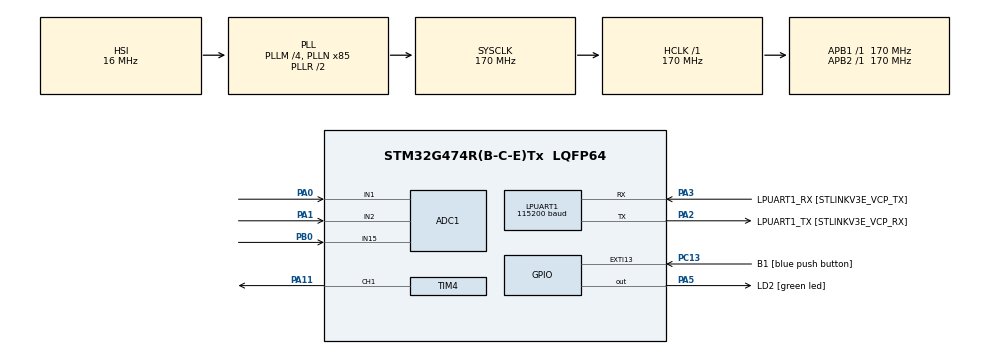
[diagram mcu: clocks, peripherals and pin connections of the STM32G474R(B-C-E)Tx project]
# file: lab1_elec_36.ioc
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ADC1.Channel-0\#ChannelRegularConversion=ADC_CHANNEL_1
ADC1.Channel-1\#ChannelRegularConversion=ADC_CHANNEL_2
ADC1.Channel-2\#ChannelRegularConversion=ADC_CHANNEL_15
ADC1.ContinuousConvMode=DISABLE
ADC1.DMAContinuousRequests=ENABLE
ADC1.ExternalTrigConv=ADC_EXTERNALTRIG_T3_TRGO
ADC1.NbrOfConversion=3
ADC1.NbrOfConversionFlag=1
ADC1.OffsetNumber-0\#ChannelRegularConversion=ADC_OFFSET_NONE
ADC1.OffsetNumber-1\#ChannelRegularConversion=ADC_OFFSET_NONE
ADC1.OffsetNumber-2\#ChannelRegularConversion=ADC_OFFSET_NONE
ADC1.Rank-0\#ChannelRegularConversion=1
ADC1.Rank-1\#ChannelRegularConversion=2
ADC1.Rank-2\#ChannelRegularConversion=3
ADC1.SamplingTime-0\#ChannelRegularConversion=ADC_SAMPLETIME_640CYCLES_5
ADC1.SamplingTime-1\#ChannelRegularConversion=ADC_SAMPLETIME_640CYCLES_5
ADC1.SamplingTime-2\#ChannelRegularConversion=ADC_SAMPLETIME_640CYCLES_5
ADC1.master=1
Dma.ADC1.0.Direction=DMA_PERIPH_TO_MEMORY
Dma.ADC1.0.EventEnable=DISABLE
Dma.ADC1.0.Instance=DMA1_Channel1
Dma.ADC1.0.MemDataAlignment=DMA_MDATAALIGN_HALFWORD
Dma.ADC1.0.MemInc=DMA_MINC_ENABLE
Dma.ADC1.0.Mode=DMA_CIRCULAR
Dma.ADC1.0.PeriphDataAlignment=DMA_PDATAALIGN_HALFWORD
Dma.ADC1.0.PeriphInc=DMA_PINC_DISABLE
Dma.ADC1.0.Polarity=HAL_DMAMUX_REQ_GEN_RISING
Dma.ADC1.0.Priority=DMA_PRIORITY_LOW
Dma.ADC1.0.RequestNumber=1
Dma.ADC1.0.SignalID=NONE
Dma.ADC1.0.SyncEnable=DISABLE
Dma.ADC1.0.SyncPolarity=HAL_DMAMUX_SYNC_NO_EVENT
Dma.ADC1.0.SyncRequestNumber=1
Dma.ADC1.0.SyncSignalID=NONE
Dma.Request0=ADC1
LPUART1.BaudRate=115200
LPUART1.WordLength=UART_WORDLENGTH_8B
Mcu.Family=STM32G4
Mcu.Name=STM32G474R(B-C-E)Tx
Mcu.Package=LQFP64
NVIC.DMA1_Channel1_IRQn=true\:0\:0\:false\:false\:true\:false\:true\:true
NVIC.EXTI15_10_IRQn=true\:0\:0\:false\:false\:true\:true\:true\:true
NVIC.PriorityGroup=NVIC_PRIORITYGROUP_4
NVIC.TIM2_IRQn=true\:0\:0\:false\:false\:true\:true\:true\:true
PA0.Mode=IN1-Single-Ended
PA0.Signal=ADC1_IN1
PA1.Mode=IN2-Single-Ended
PA1.Signal=ADC1_IN2
PA11.Signal=S_TIM4_CH1
PA13.GPIO_Label=T_SWDIO
PA13.Mode=Serial_Wire
PA13.Signal=SYS_JTMS-SWDIO
PA14.GPIO_Label=T_SWCLK
PA14.Mode=Serial_Wire
PA14.Signal=SYS_JTCK-SWCLK
PA2.GPIO_Label=LPUART1_TX [STLINKV3E_VCP_RX]
PA2.Mode=Asynchronous
PA2.Signal=LPUART1_TX
PA3.GPIO_Label=LPUART1_RX [STLINKV3E_VCP_TX]
PA3.Mode=Asynchronous
PA3.Signal=LPUART1_RX
PA5.GPIO_Label=LD2 [green led]
PA5.Signal=GPIO_Output
PB0.Mode=IN15-Single-Ended
PB0.Signal=ADC1_IN15
PB3.GPIO_Label=T_SWO
PB3.Signal=SYS_JTDO-SWO
PC13.GPIO_Label=B1 [blue push button]
PC13.Signal=GPXTI13
PC14-OSC32_IN.Mode=LSE-External-Oscillator
PC14-OSC32_IN.Signal=RCC_OSC32_IN
PC15-OSC32_OUT.Mode=LSE-External-Oscillator
PC15-OSC32_OUT.Signal=RCC_OSC32_OUT
PF0-OSC_IN.Mode=HSE-External-Oscillator
PF0-OSC_IN.Signal=RCC_OSC_IN
PF1-OSC_OUT.Mode=HSE-External-Oscillator
PF1-OSC_OUT.Signal=RCC_OSC_OUT
ProjectManager.HeapSize=0x200
ProjectManager.StackSize=0x400
ProjectManager.TargetToolchain=STM32CubeIDE
RCC.ADC12Freq_Value=170000000
RCC.ADC345Freq_Value=170000000
RCC.AHBFreq_Value=170000000
RCC.APB1Freq_Value=170000000
RCC.APB1TimFreq_Value=170000000
RCC.APB2Freq_Value=170000000
RCC.APB2TimFreq_Value=170000000
RCC.CortexFreq_Value=170000000
RCC.EXTERNAL_CLOCK_VALUE=12288000
RCC.HCLKFreq_Value=170000000
RCC.HSE_VALUE=24000000
RCC.HSI48_VALUE=48000000
RCC.HSI_VALUE=16000000
RCC.PLLM=RCC_PLLM_DIV4
RCC.PLLN=85
RCC.RTCClockSelection=RCC_RTCCLKSOURCE_LSE
RCC.SYSCLKFreq_VALUE=170000000
RCC.SYSCLKSource=RCC_SYSCLKSOURCE_PLLCLK
RCC.USBFreq_Value=170000000
RCC.VCOOutputFreq_Value=340000000
SH.S_TIM4_CH1.0=TIM4_CH1,PWM Generation1 CH1
TIM2.Prescaler=169
TIM3.PeriodNoDither=9
TIM3.Prescaler=16999
TIM3.TIM_MasterOutputTrigger=TIM_TRGO_UPDATE
TIM4.Channel-PWM\ Generation1\ CH1=TIM_CHANNEL_1
TIM4.PeriodNoDither=19999
TIM4.Prescaler=169
TIM4.PulseNoDither_1=2000
VP_SYS_VS_DBSignals.Mode=DisableDeadBatterySignals
VP_TIM2_VS_ClockSourceINT.Mode=Internal
VP_TIM3_VS_ClockSourceINT.Mode=Internal
VP_TIM4_VS_ClockSourceINT.Mode=Internal
board=NUCLEO-G474RE

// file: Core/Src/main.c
/* USER CODE BEGIN Header */
/**
  ******************************************************************************
  * @file           : main.c
  * @brief          : Main program body
  ******************************************************************************
  * @attention
  *
  * Copyright (c) 2024 STMicroelectronics.
  * All rights reserved.
  *
  * This software is licensed under terms that can be found in the LICENSE file
  * in the root directory of this software component.
  * If no LICENSE file comes with this software, it is provided AS-IS.
  *
  ******************************************************************************
  */
/* USER CODE END Header */
#include "main.h"

ADC_HandleTypeDef hadc1;
DMA_HandleTypeDef hdma_adc1;

UART_HandleTypeDef hlpuart1;

TIM_HandleTypeDef htim2;
TIM_HandleTypeDef htim3;
TIM_HandleTypeDef htim4;

/* USER CODE BEGIN PV */
uint32_t mn=0;
uint32_t count=0;
uint16_t ADCBuffer[300];
uint64_t hpmn=0;
uint8_t ADCChannels = 3;
uint8_t ADCCount = 100;
uint16_t ADCBuffer[300];
uint32_t AVG[3];
uint64_t channelSums[3] = {0};
double percen1;
double percen2;
double percen3;
/* USER CODE END PV */

void SystemClock_Config(void);
static void MX_GPIO_Init(void);
static void MX_DMA_Init(void);
static void MX_LPUART1_UART_Init(void);
static void MX_TIM2_Init(void);
static void MX_ADC1_Init(void);
static void MX_TIM3_Init(void);
static void MX_TIM4_Init(void);

int main(void)
{

  /* MCU Configuration--------------------------------------------------------*/

  /* Reset of all peripherals, Initializes the Flash interface and the Systick. */
  HAL_Init();

  /* Configure the system clock */
  SystemClock_Config();

  /* Initialize all configured peripherals */
  MX_GPIO_Init();
  MX_DMA_Init();
  MX_LPUART1_UART_Init();
  MX_TIM2_Init();
  MX_ADC1_Init();
  MX_TIM3_Init();
  MX_TIM4_Init();
  /* USER CODE BEGIN 2 */
  HAL_TIM_Base_Start_IT(&htim2);
  HAL_ADC_Start_DMA(&hadc1, ADCBuffer, 300);
  HAL_TIM_Base_Start(&htim3);
  HAL_TIM_Base_Start(&htim4);
  HAL_TIM_PWM_Start(&htim4, TIM_CHANNEL_1);
  /* USER CODE END 2 */

  /* Infinite loop */
  while (1)
  {

    /* USER CODE BEGIN 3 */
	  mn = __HAL_TIM_GET_COUNTER(&htim2);
	  hpmn = ((count-1)*4294967295)+mn;

	  //HAL_Delay(300);
	  channelSums[0] = 0;
	  channelSums[1] = 0;
	  channelSums[2] = 0;

	  for (int i=0; i< ADCChannels; i++) {
		  for (int j=0; j < ADCCount; j++) {
			  channelSums[i] += ADCBuffer[i+j*ADCChannels];
		  }
		  AVG[i] = channelSums[i] / ADCCount;
	  }
	  percen1 = (float)((AVG[0]*100)/4095);
	  percen2 = (float)((AVG[1]*100)/4095);
	  percen3 = (float)((AVG[2]*100)/4095);

	  if ((percen1>=0)&&(percen1<25))
	  {
	  __HAL_TIM_SET_COMPARE(&htim4, TIM_CHANNEL_1, 500);
	  }
	  else if ((percen1>=25)&&(percen1<50))
	  {
	  __HAL_TIM_SET_COMPARE(&htim4, TIM_CHANNEL_1,percen2*25);
	  }
	  else if ((percen1>=50)&&(percen1<75))
	  {
	  __HAL_TIM_SET_COMPARE(&htim4, TIM_CHANNEL_1, percen3*25);
	  }
	  else if (percen1>=75)
	  {
	  __HAL_TIM_SET_COMPARE(&htim4, TIM_CHANNEL_1, 2500);
	  }
  }
  /* USER CODE END 3 */
}

void SystemClock_Config(void)
{
  RCC_OscInitTypeDef RCC_OscInitStruct = {0};
  RCC_ClkInitTypeDef RCC_ClkInitStruct = {0};

  /** Configure the main internal regulator output voltage
  */
  HAL_PWREx_ControlVoltageScaling(PWR_REGULATOR_VOLTAGE_SCALE1_BOOST);

  /** Initializes the RCC Oscillators according to the specified parameters
  * in the RCC_OscInitTypeDef structure.
  */
  RCC_OscInitStruct.OscillatorType = RCC_OSCILLATORTYPE_HSI;
  RCC_OscInitStruct.HSIState = RCC_HSI_ON;
  RCC_OscInitStruct.HSICalibrationValue = RCC_HSICALIBRATION_DEFAULT;
  RCC_OscInitStruct.PLL.PLLState = RCC_PLL_ON;
  RCC_OscInitStruct.PLL.PLLSource = RCC_PLLSOURCE_HSI;
  RCC_OscInitStruct.PLL.PLLM = RCC_PLLM_DIV4;
  RCC_OscInitStruct.PLL.PLLN = 85;
  RCC_OscInitStruct.PLL.PLLP = RCC_PLLP_DIV2;
  RCC_OscInitStruct.PLL.PLLQ = RCC_PLLQ_DIV2;
  RCC_OscInitStruct.PLL.PLLR = RCC_PLLR_DIV2;
  if (HAL_RCC_OscConfig(&RCC_OscInitStruct) != HAL_OK)
  {
    Error_Handler();
  }

  /** Initializes the CPU, AHB and APB buses clocks
  */
  RCC_ClkInitStruct.ClockType = RCC_CLOCKTYPE_HCLK|RCC_CLOCKTYPE_SYSCLK
                              |RCC_CLOCKTYPE_PCLK1|RCC_CLOCKTYPE_PCLK2;
  RCC_ClkInitStruct.SYSCLKSource = RCC_SYSCLKSOURCE_PLLCLK;
  RCC_ClkInitStruct.AHBCLKDivider = RCC_SYSCLK_DIV1;
  RCC_ClkInitStruct.APB1CLKDivider = RCC_HCLK_DIV1;
  RCC_ClkInitStruct.APB2CLKDivider = RCC_HCLK_DIV1;

  if (HAL_RCC_ClockConfig(&RCC_ClkInitStruct, FLASH_LATENCY_4) != HAL_OK)
  {
    Error_Handler();
  }
}

static void MX_ADC1_Init(void)
{

  ADC_MultiModeTypeDef multimode = {0};
  ADC_ChannelConfTypeDef sConfig = {0};

  /** Common config
  */
  hadc1.Instance = ADC1;
  hadc1.Init.ClockPrescaler = ADC_CLOCK_SYNC_PCLK_DIV4;
  hadc1.Init.Resolution = ADC_RESOLUTION_12B;
  hadc1.Init.DataAlign = ADC_DATAALIGN_RIGHT;
  hadc1.Init.GainCompensation = 0;
  hadc1.Init.ScanConvMode = ADC_SCAN_ENABLE;
  hadc1.Init.EOCSelection = ADC_EOC_SINGLE_CONV;
  hadc1.Init.LowPowerAutoWait = DISABLE;
  hadc1.Init.ContinuousConvMode = DISABLE;
  hadc1.Init.NbrOfConversion = 3;
  hadc1.Init.DiscontinuousConvMode = DISABLE;
  hadc1.Init.ExternalTrigConv = ADC_EXTERNALTRIG_T3_TRGO;
  hadc1.Init.ExternalTrigConvEdge = ADC_EXTERNALTRIGCONVEDGE_RISING;
  hadc1.Init.DMAContinuousRequests = ENABLE;
  hadc1.Init.Overrun = ADC_OVR_DATA_PRESERVED;
  hadc1.Init.OversamplingMode = DISABLE;
  if (HAL_ADC_Init(&hadc1) != HAL_OK)
  {
    Error_Handler();
  }

  /** Configure the ADC multi-mode
  */
  multimode.Mode = ADC_MODE_INDEPENDENT;
  if (HAL_ADCEx_MultiModeConfigChannel(&hadc1, &multimode) != HAL_OK)
  {
    Error_Handler();
  }

  /** Configure Regular Channel
  */
  sConfig.Channel = ADC_CHANNEL_1;
  sConfig.Rank = ADC_REGULAR_RANK_1;
  sConfig.SamplingTime = ADC_SAMPLETIME_640CYCLES_5;
  sConfig.SingleDiff = ADC_SINGLE_ENDED;
  sConfig.OffsetNumber = ADC_OFFSET_NONE;
  sConfig.Offset = 0;
  if (HAL_ADC_ConfigChannel(&hadc1, &sConfig) != HAL_OK)
  {
    Error_Handler();
  }

  /** Configure Regular Channel
  */
  sConfig.Channel = ADC_CHANNEL_2;
  sConfig.Rank = ADC_REGULAR_RANK_2;
  if (HAL_ADC_ConfigChannel(&hadc1, &sConfig) != HAL_OK)
  {
    Error_Handler();
  }

  /** Configure Regular Channel
  */
  sConfig.Channel = ADC_CHANNEL_15;
  sConfig.Rank = ADC_REGULAR_RANK_3;
  if (HAL_ADC_ConfigChannel(&hadc1, &sConfig) != HAL_OK)
  {
    Error_Handler();
  }

}

static void MX_LPUART1_UART_Init(void)
{

  hlpuart1.Instance = LPUART1;
  hlpuart1.Init.BaudRate = 115200;
  hlpuart1.Init.WordLength = UART_WORDLENGTH_8B;
  hlpuart1.Init.StopBits = UART_STOPBITS_1;
  hlpuart1.Init.Parity = UART_PARITY_NONE;
  hlpuart1.Init.Mode = UART_MODE_TX_RX;
  hlpuart1.Init.HwFlowCtl = UART_HWCONTROL_NONE;
  hlpuart1.Init.OneBitSampling = UART_ONE_BIT_SAMPLE_DISABLE;
  hlpuart1.Init.ClockPrescaler = UART_PRESCALER_DIV1;
  hlpuart1.AdvancedInit.AdvFeatureInit = UART_ADVFEATURE_NO_INIT;
  if (HAL_UART_Init(&hlpuart1) != HAL_OK)
  {
    Error_Handler();
  }
  if (HAL_UARTEx_SetTxFifoThreshold(&hlpuart1, UART_TXFIFO_THRESHOLD_1_8) != HAL_OK)
  {
    Error_Handler();
  }
  if (HAL_UARTEx_SetRxFifoThreshold(&hlpuart1, UART_RXFIFO_THRESHOLD_1_8) != HAL_OK)
  {
    Error_Handler();
  }
  if (HAL_UARTEx_DisableFifoMode(&hlpuart1) != HAL_OK)
  {
    Error_Handler();
  }

}

static void MX_TIM2_Init(void)
{

  TIM_ClockConfigTypeDef sClockSourceConfig = {0};
  TIM_MasterConfigTypeDef sMasterConfig = {0};

  htim2.Instance = TIM2;
  htim2.Init.Prescaler = 169;
  htim2.Init.CounterMode = TIM_COUNTERMODE_UP;
  htim2.Init.Period = 4.294967295E9;
  htim2.Init.ClockDivision = TIM_CLOCKDIVISION_DIV1;
  htim2.Init.AutoReloadPreload = TIM_AUTORELOAD_PRELOAD_DISABLE;
  if (HAL_TIM_Base_Init(&htim2) != HAL_OK)
  {
    Error_Handler();
  }
  sClockSourceConfig.ClockSource = TIM_CLOCKSOURCE_INTERNAL;
  if (HAL_TIM_ConfigClockSource(&htim2, &sClockSourceConfig) != HAL_OK)
  {
    Error_Handler();
  }
  sMasterConfig.MasterOutputTrigger = TIM_TRGO_RESET;
  sMasterConfig.MasterSlaveMode = TIM_MASTERSLAVEMODE_DISABLE;
  if (HAL_TIMEx_MasterConfigSynchronization(&htim2, &sMasterConfig) != HAL_OK)
  {
    Error_Handler();
  }

}

static void MX_TIM3_Init(void)
{

  TIM_ClockConfigTypeDef sClockSourceConfig = {0};
  TIM_MasterConfigTypeDef sMasterConfig = {0};

  htim3.Instance = TIM3;
  htim3.Init.Prescaler = 16999;
  htim3.Init.CounterMode = TIM_COUNTERMODE_UP;
  htim3.Init.Period = 9;
  htim3.Init.ClockDivision = TIM_CLOCKDIVISION_DIV1;
  htim3.Init.AutoReloadPreload = TIM_AUTORELOAD_PRELOAD_DISABLE;
  if (HAL_TIM_Base_Init(&htim3) != HAL_OK)
  {
    Error_Handler();
  }
  sClockSourceConfig.ClockSource = TIM_CLOCKSOURCE_INTERNAL;
  if (HAL_TIM_ConfigClockSource(&htim3, &sClockSourceConfig) != HAL_OK)
  {
    Error_Handler();
  }
  sMasterConfig.MasterOutputTrigger = TIM_TRGO_UPDATE;
  sMasterConfig.MasterSlaveMode = TIM_MASTERSLAVEMODE_DISABLE;
  if (HAL_TIMEx_MasterConfigSynchronization(&htim3, &sMasterConfig) != HAL_OK)
  {
    Error_Handler();
  }

}

static void MX_TIM4_Init(void)
{

  TIM_ClockConfigTypeDef sClockSourceConfig = {0};
  TIM_MasterConfigTypeDef sMasterConfig = {0};
  TIM_OC_InitTypeDef sConfigOC = {0};

  htim4.Instance = TIM4;
  htim4.Init.Prescaler = 169;
  htim4.Init.CounterMode = TIM_COUNTERMODE_UP;
  htim4.Init.Period = 19999;
  htim4.Init.ClockDivision = TIM_CLOCKDIVISION_DIV1;
  htim4.Init.AutoReloadPreload = TIM_AUTORELOAD_PRELOAD_DISABLE;
  if (HAL_TIM_Base_Init(&htim4) != HAL_OK)
  {
    Error_Handler();
  }
  sClockSourceConfig.ClockSource = TIM_CLOCKSOURCE_INTERNAL;
  if (HAL_TIM_ConfigClockSource(&htim4, &sClockSourceConfig) != HAL_OK)
  {
    Error_Handler();
  }
  if (HAL_TIM_PWM_Init(&htim4) != HAL_OK)
  {
    Error_Handler();
  }
  sMasterConfig.MasterOutputTrigger = TIM_TRGO_RESET;
  sMasterConfig.MasterSlaveMode = TIM_MASTERSLAVEMODE_DISABLE;
  if (HAL_TIMEx_MasterConfigSynchronization(&htim4, &sMasterConfig) != HAL_OK)
  {
    Error_Handler();
  }
  sConfigOC.OCMode = TIM_OCMODE_PWM1;
  sConfigOC.Pulse = 2000;
  sConfigOC.OCPolarity = TIM_OCPOLARITY_HIGH;
  sConfigOC.OCFastMode = TIM_OCFAST_DISABLE;
  if (HAL_TIM_PWM_ConfigChannel(&htim4, &sConfigOC, TIM_CHANNEL_1) != HAL_OK)
  {
    Error_Handler();
  }
  HAL_TIM_MspPostInit(&htim4);

}

static void MX_DMA_Init(void)
{

  /* DMA controller clock enable */
  __HAL_RCC_DMAMUX1_CLK_ENABLE();
  __HAL_RCC_DMA1_CLK_ENABLE();

  /* DMA interrupt init */
  /* DMA1_Channel1_IRQn interrupt configuration */
  HAL_NVIC_SetPriority(DMA1_Channel1_IRQn, 0, 0);
  HAL_NVIC_EnableIRQ(DMA1_Channel1_IRQn);

}

static void MX_GPIO_Init(void)
{
  GPIO_InitTypeDef GPIO_InitStruct = {0};

  /* GPIO Ports Clock Enable */
  __HAL_RCC_GPIOC_CLK_ENABLE();
  __HAL_RCC_GPIOF_CLK_ENABLE();
  __HAL_RCC_GPIOA_CLK_ENABLE();
  __HAL_RCC_GPIOB_CLK_ENABLE();

  /*Configure GPIO pin Output Level */
  HAL_GPIO_WritePin(LD2_GPIO_Port, LD2_Pin, GPIO_PIN_RESET);

  /*Configure GPIO pin : B1_Pin */
  GPIO_InitStruct.Pin = B1_Pin;
  GPIO_InitStruct.Mode = GPIO_MODE_IT_RISING;
  GPIO_InitStruct.Pull = GPIO_NOPULL;
  HAL_GPIO_Init(B1_GPIO_Port, &GPIO_InitStruct);

  /*Configure GPIO pin : LD2_Pin */
  GPIO_InitStruct.Pin = LD2_Pin;
  GPIO_InitStruct.Mode = GPIO_MODE_OUTPUT_PP;
  GPIO_InitStruct.Pull = GPIO_NOPULL;
  GPIO_InitStruct.Speed = GPIO_SPEED_FREQ_LOW;
  HAL_GPIO_Init(LD2_GPIO_Port, &GPIO_InitStruct);

  /* EXTI interrupt init*/
  HAL_NVIC_SetPriority(EXTI15_10_IRQn, 0, 0);
  HAL_NVIC_EnableIRQ(EXTI15_10_IRQn);

}

/* USER CODE BEGIN 4 */
void HAL_TIM_PeriodElapsedCallback(TIM_HandleTypeDef *htim)
{
if(htim == &htim2)
{
count += 1;
}
}
/* USER CODE END 4 */

void Error_Handler(void)
{
  __disable_irq();
  while (1)
  {
  }
}
